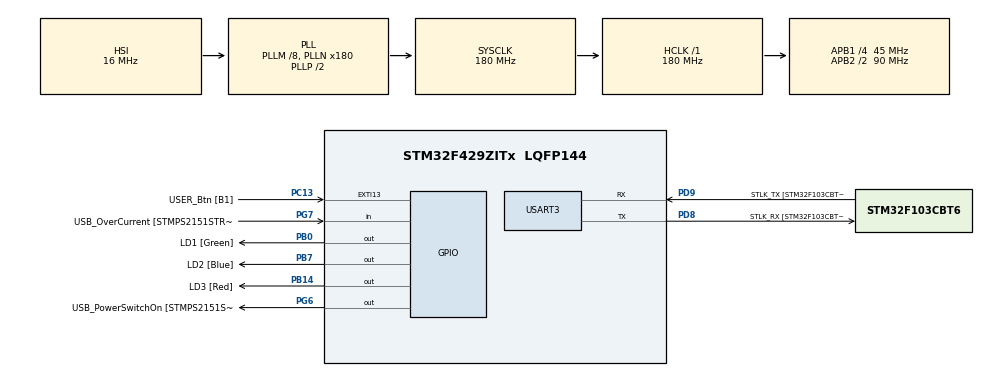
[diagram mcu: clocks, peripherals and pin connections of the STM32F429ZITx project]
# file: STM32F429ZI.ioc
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Mcu.Family=STM32F4
Mcu.Name=STM32F429ZITx
Mcu.Package=LQFP144
NVIC.PriorityGroup=NVIC_PRIORITYGROUP_4
NVIC.USART3_IRQn=true\:0\:0\:false\:false\:true\:true\:true\:true
PA1.GPIO_Label=RMII_REF_CLK [LAN8742A-CZ-TR_REFCLK0]
PA1.Signal=ETH_REF_CLK
PA10.GPIO_Label=USB_ID
PA10.Signal=USB_OTG_FS_ID
PA11.GPIO_Label=USB_DM
PA11.Signal=USB_OTG_FS_DM
PA12.GPIO_Label=USB_DP
PA12.Signal=USB_OTG_FS_DP
PA13.GPIO_Label=TMS
PA13.Mode=Serial_Wire
PA13.Signal=SYS_JTMS-SWDIO
PA14.GPIO_Label=TCK
PA14.Mode=Serial_Wire
PA14.Signal=SYS_JTCK-SWCLK
PA2.GPIO_Label=RMII_MDIO [LAN8742A-CZ-TR_MDIO]
PA2.Signal=ETH_MDIO
PA7.GPIO_Label=RMII_CRS_DV [LAN8742A-CZ-TR_CRS_DV]
PA7.Signal=ETH_CRS_DV
PA8.GPIO_Label=USB_SOF [TP1]
PA8.Signal=USB_OTG_FS_SOF
PA9.GPIO_Label=USB_VBUS
PA9.Signal=USB_OTG_FS_VBUS
PB0.GPIO_Label=LD1 [Green]
PB0.Signal=GPIO_Output
PB13.GPIO_Label=RMII_TXD1 [LAN8742A-CZ-TR_TXD1]
PB13.Signal=ETH_TXD1
PB14.GPIO_Label=LD3 [Red]
PB14.Signal=GPIO_Output
PB7.GPIO_Label=LD2 [Blue]
PB7.Signal=GPIO_Output
PC1.GPIO_Label=RMII_MDC [LAN8742A-CZ-TR_MDC]
PC1.Signal=ETH_MDC
PC13.GPIO_Label=USER_Btn [B1]
PC13.Signal=GPXTI13
PC14/OSC32_IN.Mode=LSE-External-Oscillator
PC14/OSC32_IN.Signal=RCC_OSC32_IN
PC15/OSC32_OUT.Mode=LSE-External-Oscillator
PC15/OSC32_OUT.Signal=RCC_OSC32_OUT
PC4.GPIO_Label=RMII_RXD0 [LAN8742A-CZ-TR_RXD0]
PC4.Signal=ETH_RXD0
PC5.GPIO_Label=RMII_RXD1 [LAN8742A-CZ-TR_RXD1]
PC5.Signal=ETH_RXD1
PD8.GPIO_Label=STLK_RX [STM32F103CBT6_PA3]
PD8.Mode=Asynchronous
PD8.Signal=USART3_TX
PD9.GPIO_Label=STLK_TX [STM32F103CBT6_PA2]
PD9.Mode=Asynchronous
PD9.Signal=USART3_RX
PG11.GPIO_Label=RMII_TX_EN [LAN8742A-CZ-TR_TXEN]
PG11.Signal=ETH_TX_EN
PG13.GPIO_Label=RMII_TXD0 [LAN8742A-CZ-TR_TXD0]
PG13.Signal=ETH_TXD0
PG6.GPIO_Label=USB_PowerSwitchOn [STMPS2151STR_EN]
PG6.Signal=GPIO_Output
PG7.GPIO_Label=USB_OverCurrent [STMPS2151STR_FAULT]
PG7.Signal=GPIO_Input
PH0/OSC_IN.GPIO_Label=MCO [STM32F103CBT6_PA8]
PH0/OSC_IN.Signal=RCC_OSC_IN
ProjectManager.HeapSize=0x200
ProjectManager.StackSize=0x400
ProjectManager.TargetToolchain=STM32CubeIDE
RCC.48MHZClocksFreq_Value=51428571.428571425
RCC.AHBFreq_Value=180000000
RCC.APB1CLKDivider=RCC_HCLK_DIV4
RCC.APB1Freq_Value=45000000
RCC.APB1TimFreq_Value=90000000
RCC.APB2CLKDivider=RCC_HCLK_DIV2
RCC.APB2Freq_Value=90000000
RCC.APB2TimFreq_Value=180000000
RCC.CortexFreq_Value=180000000
RCC.HCLKFreq_Value=180000000
RCC.HSE_VALUE=8000000
RCC.HSI_VALUE=16000000
RCC.PLLM=8
RCC.PLLMUL=RCC_PLL_MUL9
RCC.PLLN=180
RCC.PLLQ=7
RCC.PRESCALERUSB=RCC_USBCLKSOURCE_PLL_DIV1_5
RCC.RCC_RTC_Clock_Source=RCC_RTCCLKSOURCE_LSE
RCC.RCC_RTC_Clock_SourceVirtual=RCC_RTCCLKSOURCE_LSE
RCC.SYSCLKFreq_VALUE=180000000
RCC.SYSCLKSource=RCC_SYSCLKSOURCE_PLLCLK
RCC.SYSCLKSourceVirtual=RCC_SYSCLKSOURCE_PLLCLK
RCC.USBFreq_Value=48000000
RCC.VCOOutputFreq_Value=360000000
USART3.VirtualMode=VM_ASYNC
VP_RTC_VS_RTC_Activate.Mode=RTC_Enabled
board=NUCLEO-F429ZI

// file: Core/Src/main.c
/* USER CODE BEGIN Header */
/**
  ******************************************************************************
  * @file           : main.c
  * @brief          : Main program body
  ******************************************************************************
  * @attention
  *
  * Copyright (c) 2024 STMicroelectronics.
  * All rights reserved.
  *
  * This software is licensed under terms that can be found in the LICENSE file
  * in the root directory of this software component.
  * If no LICENSE file comes with this software, it is provided AS-IS.
  *
  ******************************************************************************
  */
#include <stdio.h>
/* USER CODE END Header */
#include "main.h"

RTC_HandleTypeDef hrtc;

UART_HandleTypeDef huart3;

void SystemClock_Config(void);
static void MX_GPIO_Init(void);
static void MX_USART3_UART_Init(void);
static void MX_RTC_Init(void);

/* USER CODE BEGIN 0 */

#define UART_BUF_LEN     30

/* Base address of the Flash sectors Bank 1 */
#define ADDR_FLASH_SECTOR_0      ((uint32_t)0x08000000) /* Base @ of Sector 0, 16 Kbytes */
#define ADDR_FLASH_SECTOR_1      ((uint32_t)0x08004000) /* Base @ of Sector 1, 16 Kbytes */
#define ADDR_FLASH_SECTOR_2      ((uint32_t)0x08008000) /* Base @ of Sector 2, 16 Kbytes */
#define ADDR_FLASH_SECTOR_3      ((uint32_t)0x0800C000) /* Base @ of Sector 3, 16 Kbytes */
#define ADDR_FLASH_SECTOR_4      ((uint32_t)0x08010000) /* Base @ of Sector 4, 64 Kbytes */
#define ADDR_FLASH_SECTOR_5      ((uint32_t)0x08020000) /* Base @ of Sector 5, 128 Kbytes */
#define ADDR_FLASH_SECTOR_6      ((uint32_t)0x08040000) /* Base @ of Sector 6, 128 Kbytes */
#define ADDR_FLASH_SECTOR_7      ((uint32_t)0x08060000) /* Base @ of Sector 7, 128 Kbytes */
#define ADDR_FLASH_SECTOR_8      ((uint32_t)0x08080000) /* Base @ of Sector 8, 128 Kbytes */
#define ADDR_FLASH_SECTOR_9      ((uint32_t)0x080A0000) /* Base @ of Sector 9, 128 Kbytes */
#define ADDR_FLASH_SECTOR_10     ((uint32_t)0x080C0000) /* Base @ of Sector 10, 128 Kbytes */
#define ADDR_FLASH_SECTOR_11     ((uint32_t)0x080E0000) /* Base @ of Sector 11, 128 Kbytes */

/* Base address of the Flash sectors Bank 2 */
#define ADDR_FLASH_SECTOR_12     ((uint32_t)0x08100000) /* Base @ of Sector 0, 16 Kbytes */
#define ADDR_FLASH_SECTOR_13     ((uint32_t)0x08104000) /* Base @ of Sector 1, 16 Kbytes */
#define ADDR_FLASH_SECTOR_14     ((uint32_t)0x08108000) /* Base @ of Sector 2, 16 Kbytes */
#define ADDR_FLASH_SECTOR_15     ((uint32_t)0x0810C000) /* Base @ of Sector 3, 16 Kbytes */
#define ADDR_FLASH_SECTOR_16     ((uint32_t)0x08110000) /* Base @ of Sector 4, 64 Kbytes */
#define ADDR_FLASH_SECTOR_17     ((uint32_t)0x08120000) /* Base @ of Sector 5, 128 Kbytes */
#define ADDR_FLASH_SECTOR_18     ((uint32_t)0x08140000) /* Base @ of Sector 6, 128 Kbytes */
#define ADDR_FLASH_SECTOR_19     ((uint32_t)0x08160000) /* Base @ of Sector 7, 128 Kbytes */
#define ADDR_FLASH_SECTOR_20     ((uint32_t)0x08180000) /* Base @ of Sector 8, 128 Kbytes */
#define ADDR_FLASH_SECTOR_21     ((uint32_t)0x081A0000) /* Base @ of Sector 9, 128 Kbytes */
#define ADDR_FLASH_SECTOR_22     ((uint32_t)0x081C0000) /* Base @ of Sector 10, 128 Kbytes */
#define ADDR_FLASH_SECTOR_23     ((uint32_t)0x081E0000) /* Base @ of Sector 11, 128 Kbytes */

#define FLASH_USER_START_ADDR   ADDR_FLASH_SECTOR_3  /* Start @ of user Flash area */
#define FLASH_USER_END_ADDR     ADDR_FLASH_SECTOR_23 + GetSectorSize(ADDR_FLASH_SECTOR_23) - 1 /* End @ of user Flash area */

#define DATA_32                 ((uint32_t)0x12345678)

uint32_t FirstSector = 0, NbOfSectors = 0;
uint32_t Address = 0, SECTORError = 0;
__IO uint32_t data32 = 0, MemoryProgramStatus = 0;

char uart_buf[UART_BUF_LEN];

static FLASH_EraseInitTypeDef EraseInitStruct;

static uint32_t GetSector(uint32_t Address);
static uint32_t GetSectorSize(uint32_t Sector);
/* USER CODE END 0 */

int main(void)
{

  /* MCU Configuration--------------------------------------------------------*/

  /* Reset of all peripherals, Initializes the Flash interface and the Systick. */
  HAL_Init();

  /* Configure the system clock */
  SystemClock_Config();

  /* Initialize all configured peripherals */
  MX_GPIO_Init();
  MX_USART3_UART_Init();
  MX_RTC_Init();
  /* USER CODE BEGIN 2 */

  HAL_FLASH_Unlock();

  /* Get the 1st sector to erase */
  FirstSector = GetSector(FLASH_USER_START_ADDR);
  /* Get the number of sector to erase from 1st sector */
  NbOfSectors = GetSector(FLASH_USER_END_ADDR) - FirstSector + 1;
  /* Fill EraseInit structure */
  EraseInitStruct.TypeErase    = FLASH_TYPEERASE_SECTORS;
  EraseInitStruct.VoltageRange = FLASH_VOLTAGE_RANGE_3;
  EraseInitStruct.Sector       = FirstSector;
  EraseInitStruct.NbSectors    = NbOfSectors;

  if (HAL_FLASHEx_Erase(&EraseInitStruct, &SECTORError) != HAL_OK)
  {
    memset(uart_buf, 0, UART_BUF_LEN);
    sprintf(uart_buf, "HAL_FLASHEx_Erase ERROR \r\n");
    HAL_UART_Transmit_IT(&huart3, uart_buf, UART_BUF_LEN);
    return -1;
  }

  Address = FLASH_USER_START_ADDR;

  while (Address < FLASH_USER_END_ADDR)
  {
    if (HAL_FLASH_Program(FLASH_TYPEPROGRAM_WORD, Address, DATA_32) == HAL_OK)
    {
      Address += 4;
    }
    else
    {
      memset(uart_buf, 0, UART_BUF_LEN);
      sprintf(uart_buf, "HAL FLASH Program ERROR\r\n");
      HAL_UART_Transmit_IT(&huart3, uart_buf, UART_BUF_LEN);
      return -1;
    }
  }

  HAL_FLASH_Lock();

  Address = FLASH_USER_START_ADDR;
  MemoryProgramStatus = 0;

  while (Address < FLASH_USER_END_ADDR)
  {
    data32 = *(__IO uint32_t *)Address;

    if (data32 != DATA_32)
    {
      MemoryProgramStatus++;
    }
    Address += 4;
  }

  memset(uart_buf, 0, UART_BUF_LEN);

  if (MemoryProgramStatus == 0)
  {
    sprintf(uart_buf, "No error detected\r\n");
  }
  else
  {
    sprintf(uart_buf, "error detected\r\n");
  }
  HAL_UART_Transmit_IT(&huart3, uart_buf, UART_BUF_LEN);
  /* USER CODE END 2 */

  /* Infinite loop */
  /* USER CODE BEGIN WHILE */
  while (1)
  {
    HAL_Delay(1000);
    /* USER CODE END WHILE */

  }
}

void SystemClock_Config(void)
{
  RCC_OscInitTypeDef RCC_OscInitStruct = {0};
  RCC_ClkInitTypeDef RCC_ClkInitStruct = {0};

  /** Configure the main internal regulator output voltage
  */
  __HAL_RCC_PWR_CLK_ENABLE();
  __HAL_PWR_VOLTAGESCALING_CONFIG(PWR_REGULATOR_VOLTAGE_SCALE1);

  /** Initializes the RCC Oscillators according to the specified parameters
  * in the RCC_OscInitTypeDef structure.
  */
  RCC_OscInitStruct.OscillatorType = RCC_OSCILLATORTYPE_HSI|RCC_OSCILLATORTYPE_LSE;
  RCC_OscInitStruct.LSEState = RCC_LSE_ON;
  RCC_OscInitStruct.HSIState = RCC_HSI_ON;
  RCC_OscInitStruct.HSICalibrationValue = RCC_HSICALIBRATION_DEFAULT;
  RCC_OscInitStruct.PLL.PLLState = RCC_PLL_ON;
  RCC_OscInitStruct.PLL.PLLSource = RCC_PLLSOURCE_HSI;
  RCC_OscInitStruct.PLL.PLLM = 8;
  RCC_OscInitStruct.PLL.PLLN = 180;
  RCC_OscInitStruct.PLL.PLLP = RCC_PLLP_DIV2;
  RCC_OscInitStruct.PLL.PLLQ = 7;
  if (HAL_RCC_OscConfig(&RCC_OscInitStruct) != HAL_OK)
  {
    Error_Handler();
  }

  /** Activate the Over-Drive mode
  */
  if (HAL_PWREx_EnableOverDrive() != HAL_OK)
  {
    Error_Handler();
  }

  /** Initializes the CPU, AHB and APB buses clocks
  */
  RCC_ClkInitStruct.ClockType = RCC_CLOCKTYPE_HCLK|RCC_CLOCKTYPE_SYSCLK
                              |RCC_CLOCKTYPE_PCLK1|RCC_CLOCKTYPE_PCLK2;
  RCC_ClkInitStruct.SYSCLKSource = RCC_SYSCLKSOURCE_PLLCLK;
  RCC_ClkInitStruct.AHBCLKDivider = RCC_SYSCLK_DIV1;
  RCC_ClkInitStruct.APB1CLKDivider = RCC_HCLK_DIV4;
  RCC_ClkInitStruct.APB2CLKDivider = RCC_HCLK_DIV2;

  if (HAL_RCC_ClockConfig(&RCC_ClkInitStruct, FLASH_LATENCY_5) != HAL_OK)
  {
    Error_Handler();
  }
}

static void MX_RTC_Init(void)
{

  /** Initialize RTC Only
  */
  hrtc.Instance = RTC;
  hrtc.Init.HourFormat = RTC_HOURFORMAT_24;
  hrtc.Init.AsynchPrediv = 127;
  hrtc.Init.SynchPrediv = 255;
  hrtc.Init.OutPut = RTC_OUTPUT_DISABLE;
  hrtc.Init.OutPutPolarity = RTC_OUTPUT_POLARITY_HIGH;
  hrtc.Init.OutPutType = RTC_OUTPUT_TYPE_OPENDRAIN;
  if (HAL_RTC_Init(&hrtc) != HAL_OK)
  {
    Error_Handler();
  }

}

static void MX_USART3_UART_Init(void)
{

  huart3.Instance = USART3;
  huart3.Init.BaudRate = 115200;
  huart3.Init.WordLength = UART_WORDLENGTH_8B;
  huart3.Init.StopBits = UART_STOPBITS_1;
  huart3.Init.Parity = UART_PARITY_NONE;
  huart3.Init.Mode = UART_MODE_TX_RX;
  huart3.Init.HwFlowCtl = UART_HWCONTROL_NONE;
  huart3.Init.OverSampling = UART_OVERSAMPLING_16;
  if (HAL_UART_Init(&huart3) != HAL_OK)
  {
    Error_Handler();
  }

}

static void MX_GPIO_Init(void)
{
  GPIO_InitTypeDef GPIO_InitStruct = {0};

  /* GPIO Ports Clock Enable */
  __HAL_RCC_GPIOC_CLK_ENABLE();
  __HAL_RCC_GPIOH_CLK_ENABLE();
  __HAL_RCC_GPIOA_CLK_ENABLE();
  __HAL_RCC_GPIOB_CLK_ENABLE();
  __HAL_RCC_GPIOD_CLK_ENABLE();
  __HAL_RCC_GPIOG_CLK_ENABLE();

  /*Configure GPIO pin Output Level */
  HAL_GPIO_WritePin(GPIOB, LD1_Pin|LD3_Pin|LD2_Pin, GPIO_PIN_RESET);

  /*Configure GPIO pin Output Level */
  HAL_GPIO_WritePin(USB_PowerSwitchOn_GPIO_Port, USB_PowerSwitchOn_Pin, GPIO_PIN_RESET);

  /*Configure GPIO pin : USER_Btn_Pin */
  GPIO_InitStruct.Pin = USER_Btn_Pin;
  GPIO_InitStruct.Mode = GPIO_MODE_IT_RISING;
  GPIO_InitStruct.Pull = GPIO_NOPULL;
  HAL_GPIO_Init(USER_Btn_GPIO_Port, &GPIO_InitStruct);

  /*Configure GPIO pins : RMII_MDC_Pin RMII_RXD0_Pin RMII_RXD1_Pin */
  GPIO_InitStruct.Pin = RMII_MDC_Pin|RMII_RXD0_Pin|RMII_RXD1_Pin;
  GPIO_InitStruct.Mode = GPIO_MODE_AF_PP;
  GPIO_InitStruct.Pull = GPIO_NOPULL;
  GPIO_InitStruct.Speed = GPIO_SPEED_FREQ_VERY_HIGH;
  GPIO_InitStruct.Alternate = GPIO_AF11_ETH;
  HAL_GPIO_Init(GPIOC, &GPIO_InitStruct);

  /*Configure GPIO pins : RMII_REF_CLK_Pin RMII_MDIO_Pin RMII_CRS_DV_Pin */
  GPIO_InitStruct.Pin = RMII_REF_CLK_Pin|RMII_MDIO_Pin|RMII_CRS_DV_Pin;
  GPIO_InitStruct.Mode = GPIO_MODE_AF_PP;
  GPIO_InitStruct.Pull = GPIO_NOPULL;
  GPIO_InitStruct.Speed = GPIO_SPEED_FREQ_VERY_HIGH;
  GPIO_InitStruct.Alternate = GPIO_AF11_ETH;
  HAL_GPIO_Init(GPIOA, &GPIO_InitStruct);

  /*Configure GPIO pins : LD1_Pin LD3_Pin LD2_Pin */
  GPIO_InitStruct.Pin = LD1_Pin|LD3_Pin|LD2_Pin;
  GPIO_InitStruct.Mode = GPIO_MODE_OUTPUT_PP;
  GPIO_InitStruct.Pull = GPIO_NOPULL;
  GPIO_InitStruct.Speed = GPIO_SPEED_FREQ_LOW;
  HAL_GPIO_Init(GPIOB, &GPIO_InitStruct);

  /*Configure GPIO pin : RMII_TXD1_Pin */
  GPIO_InitStruct.Pin = RMII_TXD1_Pin;
  GPIO_InitStruct.Mode = GPIO_MODE_AF_PP;
  GPIO_InitStruct.Pull = GPIO_NOPULL;
  GPIO_InitStruct.Speed = GPIO_SPEED_FREQ_VERY_HIGH;
  GPIO_InitStruct.Alternate = GPIO_AF11_ETH;
  HAL_GPIO_Init(RMII_TXD1_GPIO_Port, &GPIO_InitStruct);

  /*Configure GPIO pin : USB_PowerSwitchOn_Pin */
  GPIO_InitStruct.Pin = USB_PowerSwitchOn_Pin;
  GPIO_InitStruct.Mode = GPIO_MODE_OUTPUT_PP;
  GPIO_InitStruct.Pull = GPIO_NOPULL;
  GPIO_InitStruct.Speed = GPIO_SPEED_FREQ_LOW;
  HAL_GPIO_Init(USB_PowerSwitchOn_GPIO_Port, &GPIO_InitStruct);

  /*Configure GPIO pin : USB_OverCurrent_Pin */
  GPIO_InitStruct.Pin = USB_OverCurrent_Pin;
  GPIO_InitStruct.Mode = GPIO_MODE_INPUT;
  GPIO_InitStruct.Pull = GPIO_NOPULL;
  HAL_GPIO_Init(USB_OverCurrent_GPIO_Port, &GPIO_InitStruct);

  /*Configure GPIO pins : USB_SOF_Pin USB_ID_Pin USB_DM_Pin USB_DP_Pin */
  GPIO_InitStruct.Pin = USB_SOF_Pin|USB_ID_Pin|USB_DM_Pin|USB_DP_Pin;
  GPIO_InitStruct.Mode = GPIO_MODE_AF_PP;
  GPIO_InitStruct.Pull = GPIO_NOPULL;
  GPIO_InitStruct.Speed = GPIO_SPEED_FREQ_VERY_HIGH;
  GPIO_InitStruct.Alternate = GPIO_AF10_OTG_FS;
  HAL_GPIO_Init(GPIOA, &GPIO_InitStruct);

  /*Configure GPIO pin : USB_VBUS_Pin */
  GPIO_InitStruct.Pin = USB_VBUS_Pin;
  GPIO_InitStruct.Mode = GPIO_MODE_INPUT;
  GPIO_InitStruct.Pull = GPIO_NOPULL;
  HAL_GPIO_Init(USB_VBUS_GPIO_Port, &GPIO_InitStruct);

  /*Configure GPIO pins : RMII_TX_EN_Pin RMII_TXD0_Pin */
  GPIO_InitStruct.Pin = RMII_TX_EN_Pin|RMII_TXD0_Pin;
  GPIO_InitStruct.Mode = GPIO_MODE_AF_PP;
  GPIO_InitStruct.Pull = GPIO_NOPULL;
  GPIO_InitStruct.Speed = GPIO_SPEED_FREQ_VERY_HIGH;
  GPIO_InitStruct.Alternate = GPIO_AF11_ETH;
  HAL_GPIO_Init(GPIOG, &GPIO_InitStruct);

}

/* USER CODE BEGIN 4 */
static uint32_t GetSector(uint32_t Address)
{
  uint32_t SectorIdx = 0;
  if (Address < ADDR_FLASH_SECTOR_0)
  {
    SectorIdx = 0;
  }
  else if (Address < ADDR_FLASH_SECTOR_1)
  {
    SectorIdx = 0;
  }
  else if (Address < ADDR_FLASH_SECTOR_2)
  {
    SectorIdx = 1;
  }
  else if (Address < ADDR_FLASH_SECTOR_3)
  {
    SectorIdx = 2;
  }
  else if (Address < ADDR_FLASH_SECTOR_4)
  {
    SectorIdx = 3;
  }
  else if (Address < ADDR_FLASH_SECTOR_5)
  {
    SectorIdx = 4;
  }
  else if (Address < ADDR_FLASH_SECTOR_6)
  {
    SectorIdx = 5;
  }
  else if (Address < ADDR_FLASH_SECTOR_7)
  {
    SectorIdx = 6;
  }
  else if (Address < ADDR_FLASH_SECTOR_8)
  {
    SectorIdx = 7;
  }
  else if (Address < ADDR_FLASH_SECTOR_9)
  {
    SectorIdx = 8;
  }
  else if (Address < ADDR_FLASH_SECTOR_10)
  {
    SectorIdx = 9;
  }
  else if (Address < ADDR_FLASH_SECTOR_11)
  {
    SectorIdx = 10;
  }
  else if (Address < ADDR_FLASH_SECTOR_12)
  {
    SectorIdx = 11;
  }
  else if (Address < ADDR_FLASH_SECTOR_13)
  {
    SectorIdx = 12;
  }
  else if (Address < ADDR_FLASH_SECTOR_14)
  {
    SectorIdx = 13;
  }
  else if (Address < ADDR_FLASH_SECTOR_15)
  {
    SectorIdx = 14;
  }
  else if (Address < ADDR_FLASH_SECTOR_16)
  {
    SectorIdx = 15;
  }
  else if (Address < ADDR_FLASH_SECTOR_17)
  {
    SectorIdx = 16;
  }
  else if (Address < ADDR_FLASH_SECTOR_18)
  {
    SectorIdx = 17;
  }
  else if (Address < ADDR_FLASH_SECTOR_19)
  {
    SectorIdx = 18;
  }
  else if (Address < ADDR_FLASH_SECTOR_20)
  {
    SectorIdx = 19;
  }
  else if (Address < ADDR_FLASH_SECTOR_21)
  {
    SectorIdx = 20;
  }
  else if (Address < ADDR_FLASH_SECTOR_22)
  {
    SectorIdx = 21;
  }
  else if (Address < ADDR_FLASH_SECTOR_23)
  {
    SectorIdx = 22;
  }
  else
  {
    SectorIdx = 23;
  }
  return SectorIdx;
}

static uint32_t GetSectorSize(uint32_t Sector)
{
  uint32_t SectorSize = 0;
  return SectorSize;
}
/* USER CODE END 4 */

void Error_Handler(void)
{
  __disable_irq();
  while (1)
  {
  }
}
